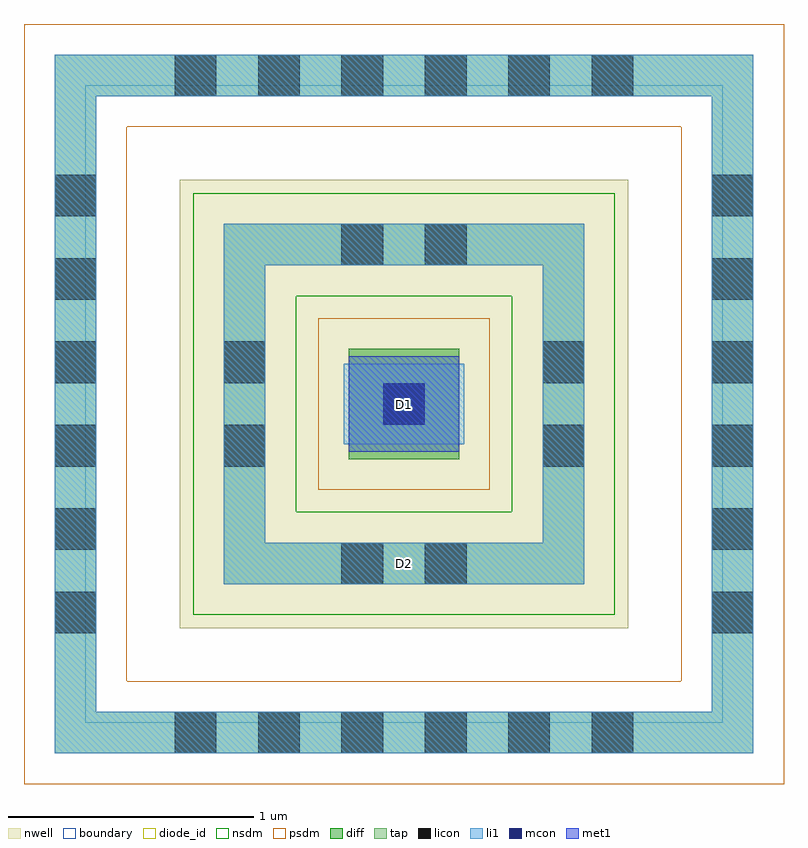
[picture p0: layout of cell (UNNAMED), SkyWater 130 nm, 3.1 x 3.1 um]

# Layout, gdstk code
import gdstk
lib = gdstk.Library(unit=1e-6, precision=1e-09)
def R(c, l, rs):  # rectangles x0, y0, x1, y1
    for r in rs: c.add(gdstk.rectangle(r[:2], r[2:], *l))
def A(c, l, x, y, w, h, nx, ny, dx, dy):  # array of equal rectangles
    R(c, l, [(x+i*dx, y+j*dy, x+i*dx+w, y+j*dy+h) for i in range(nx) for j in range(ny)])
nwell = (64, 20)
diff = (65, 20)
tap = (65, 44)
licon = (66, 44)
li1 = (67, 20)
mcon = (67, 44)
met1 = (68, 20)
diode_id = (81, 23)
nsdm = (93, 44)
psdm = (94, 20)
boundary = (235, 4)

c__unnamed_ = lib.new_cell('(UNNAMED)')
R(c__unnamed_, nwell, [(-0.915,-0.915,0.915,0.915)])
R(c__unnamed_, diff, [(-0.225,-0.225,0.225,0.225)])
R(c__unnamed_, tap, [(-1.425,-1.425,1.425,-1.255), (-1.425,-1.255,-1.255,1.255), (1.255,-1.255,1.425,1.255), (-0.735,-0.735,0.735,-0.565), (-0.735,-0.565,-0.565,0.565), (0.565,-0.565,0.735,0.565), (-0.735,0.565,0.735,0.735), (-1.425,1.255,1.425,1.425)])
A(c__unnamed_, licon, -0.935, -1.425, 0.17, 0.17, 6, 2, 0.34, 2.68)
A(c__unnamed_, licon, -1.425, -0.935, 0.17, 0.17, 1, 6, 0, 0.34)
A(c__unnamed_, licon, 1.255, -0.935, 0.17, 0.17, 1, 6, 0, 0.34)
R(c__unnamed_, licon, [(-0.255,-0.735,-0.085,-0.565), (0.085,-0.735,0.255,-0.565), (-0.735,-0.255,-0.565,-0.085), (0.565,-0.255,0.735,-0.085), (-0.085,-0.085,0.085,0.085), (-0.735,0.085,-0.565,0.255), (0.565,0.085,0.735,0.255), (-0.255,0.565,-0.085,0.735), (0.085,0.565,0.255,0.735)])
R(c__unnamed_, li1, [(-1.425,-1.425,1.425,-1.255), (-1.425,-1.255,-1.255,1.255), (1.255,-1.255,1.425,1.255), (-0.735,-0.735,0.735,-0.565), (-0.735,-0.565,-0.565,0.565), (0.565,-0.565,0.735,0.565), (-0.245,-0.165,0.245,0.165), (-0.735,0.565,0.735,0.735), (-1.425,1.255,1.425,1.425)])
R(c__unnamed_, mcon, [(-0.085,-0.085,0.085,0.085)])
R(c__unnamed_, met1, [(-0.225,-0.195,0.225,0.195)])
R(c__unnamed_, diode_id, [(-0.225,-0.225,0.225,0.225)])
R(c__unnamed_, nsdm, [(-0.86,-0.86,0.86,-0.44), (-0.86,-0.44,-0.44,0.44), (0.44,-0.44,0.86,0.44), (-0.86,0.44,0.86,0.86)])
R(c__unnamed_, psdm, [(-1.55,-1.55,1.55,-1.13), (-1.55,-1.13,-1.13,1.13), (1.13,-1.13,1.55,1.13), (-0.35,-0.35,0.35,0.35), (-1.55,1.13,1.55,1.55)])
R(c__unnamed_, boundary, [(-1.3,-1.3,1.3,1.3)])
c__unnamed_.add(gdstk.Label('D2', (0,-0.65), layer=67, texttype=5))
c__unnamed_.add(gdstk.Label('D1', (0,0), layer=67, texttype=5))

lib.write_gds('_UNNAMED_.gds')
